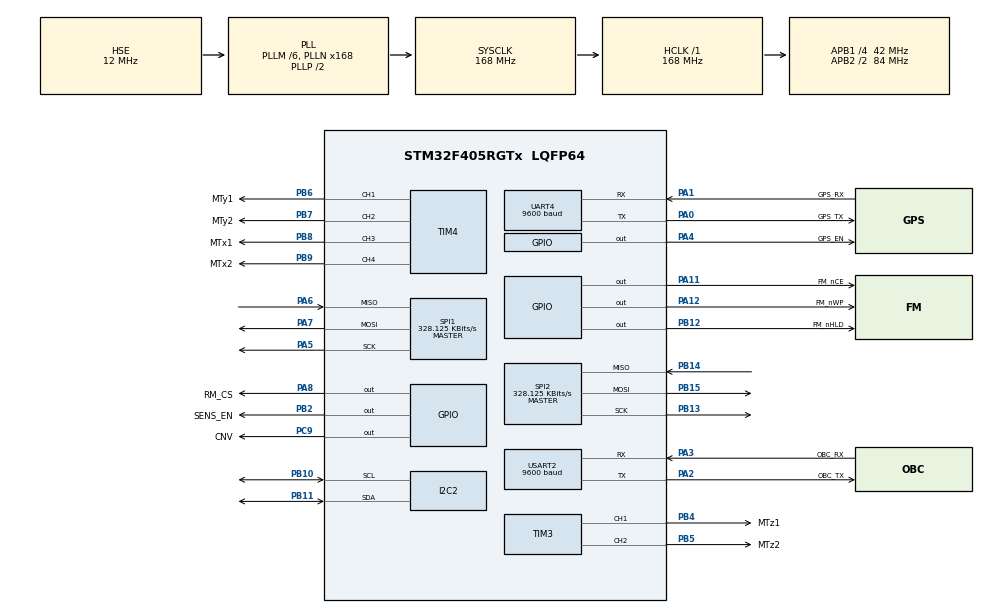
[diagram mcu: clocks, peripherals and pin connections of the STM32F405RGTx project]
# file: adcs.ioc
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Dma.Request0=USART2_TX
Dma.USART2_TX.0.Direction=DMA_MEMORY_TO_PERIPH
Dma.USART2_TX.0.FIFOMode=DMA_FIFOMODE_DISABLE
Dma.USART2_TX.0.Instance=DMA1_Stream6
Dma.USART2_TX.0.MemDataAlignment=DMA_MDATAALIGN_BYTE
Dma.USART2_TX.0.MemInc=DMA_MINC_ENABLE
Dma.USART2_TX.0.Mode=DMA_NORMAL
Dma.USART2_TX.0.PeriphDataAlignment=DMA_PDATAALIGN_BYTE
Dma.USART2_TX.0.PeriphInc=DMA_PINC_DISABLE
Dma.USART2_TX.0.Priority=DMA_PRIORITY_LOW
I2C2.NoStretchMode=I2C_NOSTRETCH_ENABLE
IWDG.Prescaler=IWDG_PRESCALER_256
IWDG.Reload=300
Mcu.Family=STM32F4
Mcu.Name=STM32F405RGTx
Mcu.Package=LQFP64
NVIC.DMA1_Stream6_IRQn=true\:0\:0\:false\:false\:true
NVIC.I2C2_EV_IRQn=true\:0\:0\:false\:false\:true
NVIC.PriorityGroup=NVIC_PRIORITYGROUP_4
NVIC.RTC_Alarm_IRQn=true\:0\:0\:false\:false\:true
NVIC.SPI1_IRQn=true\:0\:0\:false\:false\:true
NVIC.SPI2_IRQn=true\:0\:0\:false\:false\:true
NVIC.TIM7_IRQn=true\:0\:0\:false\:false\:true
NVIC.UART4_IRQn=true\:0\:0\:false\:false\:true
NVIC.USART2_IRQn=true\:0\:0\:false\:false\:true
PA0-WKUP.GPIO_Label=GPS_TX
PA0-WKUP.GPIO_Speed=GPIO_SPEED_FREQ_HIGH
PA0-WKUP.Mode=Asynchronous
PA0-WKUP.Signal=UART4_TX
PA1.GPIO_Label=GPS_RX
PA1.GPIO_Speed=GPIO_SPEED_FREQ_HIGH
PA1.Mode=Asynchronous
PA1.Signal=UART4_RX
PA11.GPIO_Label=FM_nCE
PA11.Signal=GPIO_Output
PA12.GPIO_Label=FM_nWP
PA12.Signal=GPIO_Output
PA13.Mode=Trace_Asynchronous_SW
PA13.Signal=SYS_JTMS-SWDIO
PA14.Mode=Trace_Asynchronous_SW
PA14.Signal=SYS_JTCK-SWCLK
PA2.GPIO_Label=OBC_TX
PA2.GPIO_Speed=GPIO_SPEED_FREQ_HIGH
PA2.Mode=Asynchronous
PA2.Signal=USART2_TX
PA3.GPIO_Label=OBC_RX
PA3.GPIO_Speed=GPIO_SPEED_FREQ_HIGH
PA3.Mode=Asynchronous
PA3.Signal=USART2_RX
PA4.GPIO_Label=GPS_EN
PA4.PinState=GPIO_PIN_SET
PA4.Signal=GPIO_Output
PA5.GPIO_Speed=GPIO_SPEED_FREQ_LOW
PA5.Mode=Full_Duplex_Master
PA5.Signal=SPI1_SCK
PA6.GPIO_Speed=GPIO_SPEED_FREQ_LOW
PA6.Mode=Full_Duplex_Master
PA6.Signal=SPI1_MISO
PA7.GPIO_Speed=GPIO_SPEED_FREQ_LOW
PA7.Mode=Full_Duplex_Master
PA7.Signal=SPI1_MOSI
PA8.GPIO_Label=RM_CS
PA8.Signal=GPIO_Output
PB10.GPIO_PuPdOD=GPIO_NOPULL
PB10.GPIO_Speed=GPIO_SPEED_FREQ_LOW
PB10.Mode=I2C
PB10.Signal=I2C2_SCL
PB11.GPIO_PuPdOD=GPIO_NOPULL
PB11.GPIO_Speed=GPIO_SPEED_FREQ_LOW
PB11.Mode=I2C
PB11.Signal=I2C2_SDA
PB12.GPIO_Label=FM_nHLD
PB12.Signal=GPIO_Output
PB13.GPIO_Speed=GPIO_SPEED_FREQ_LOW
PB13.Mode=Full_Duplex_Master
PB13.Signal=SPI2_SCK
PB14.GPIO_Speed=GPIO_SPEED_FREQ_LOW
PB14.Mode=Full_Duplex_Master
PB14.Signal=SPI2_MISO
PB15.GPIO_Speed=GPIO_SPEED_FREQ_LOW
PB15.Mode=Full_Duplex_Master
PB15.Signal=SPI2_MOSI
PB2.GPIO_Label=SENS_EN
PB2.PinState=GPIO_PIN_SET
PB2.Signal=GPIO_Output
PB3.Mode=Trace_Asynchronous_SW
PB3.Signal=SYS_JTDO-SWO
PB4.GPIO_Label=MTz1
PB4.Signal=S_TIM3_CH1
PB5.GPIO_Label=MTz2
PB5.Signal=S_TIM3_CH2
PB6.GPIO_Label=MTy1
PB6.Signal=S_TIM4_CH1
PB7.GPIO_Label=MTy2
PB7.Signal=S_TIM4_CH2
PB8.GPIO_Label=MTx1
PB8.Signal=S_TIM4_CH3
PB9.GPIO_Label=MTx2
PB9.Signal=S_TIM4_CH4
PC14-OSC32_IN.Mode=LSE-External-Oscillator
PC14-OSC32_IN.Signal=RCC_OSC32_IN
PC15-OSC32_OUT.Mode=LSE-External-Oscillator
PC15-OSC32_OUT.Signal=RCC_OSC32_OUT
PC9.GPIO_Label=CNV
PC9.Signal=GPIO_Output
PH0-OSC_IN.Mode=HSE-External-Oscillator
PH0-OSC_IN.Signal=RCC_OSC_IN
PH1-OSC_OUT.Mode=HSE-External-Oscillator
PH1-OSC_OUT.Signal=RCC_OSC_OUT
ProjectManager.HeapSize=0x200
ProjectManager.StackSize=0x400
ProjectManager.TargetToolchain=SW4STM32
RCC.48MHZClocksFreq_Value=48000000
RCC.AHBFreq_Value=168000000
RCC.APB1CLKDivider=RCC_HCLK_DIV4
RCC.APB1Freq_Value=42000000
RCC.APB1TimFreq_Value=84000000
RCC.APB2CLKDivider=RCC_HCLK_DIV2
RCC.APB2Freq_Value=84000000
RCC.APB2TimFreq_Value=168000000
RCC.CortexFreq_Value=168000000
RCC.HCLKFreq_Value=168000000
RCC.HSE_VALUE=12000000
RCC.HSI_VALUE=16000000
RCC.PLLM=6
RCC.PLLN=168
RCC.PLLQ=7
RCC.PLLSourceVirtual=RCC_PLLSOURCE_HSE
RCC.RCC_RTC_Clock_SourceVirtual=RCC_RTCCLKSOURCE_LSE
RCC.RCC_RTC_Clock_Source_FROM_HSE=RCC_RTCCLKSOURCE_HSE_DIV12
RCC.SYSCLKFreq_VALUE=168000000
RCC.SYSCLKSource=RCC_SYSCLKSOURCE_PLLCLK
RCC.VCOOutputFreq_Value=336000000
RTC.AlarmMask=RTC_ALARMMASK_DATEWEEKDAY
RTC.Format=RTC_FORMAT_BIN
SH.S_TIM3_CH1.0=TIM3_CH1,PWM Generation1 CH1
SH.S_TIM3_CH2.0=TIM3_CH2,PWM Generation2 CH2
SH.S_TIM4_CH1.0=TIM4_CH1,PWM Generation1 CH1
SH.S_TIM4_CH2.0=TIM4_CH2,PWM Generation2 CH2
SH.S_TIM4_CH3.0=TIM4_CH3,PWM Generation3 CH3
SH.S_TIM4_CH4.0=TIM4_CH4,PWM Generation4 CH4
SPI1.BaudRatePrescaler=SPI_BAUDRATEPRESCALER_256
SPI1.CalculateBaudRate=328.125 KBits/s
SPI1.Mode=SPI_MODE_MASTER
SPI2.BaudRatePrescaler=SPI_BAUDRATEPRESCALER_128
SPI2.CalculateBaudRate=328.125 KBits/s
SPI2.Mode=SPI_MODE_MASTER
TIM3.Channel-PWM\ Generation2\ CH2=TIM_CHANNEL_2
TIM4.Channel-PWM\ Generation2\ CH2=TIM_CHANNEL_2
TIM4.Channel-PWM\ Generation3\ CH3=TIM_CHANNEL_3
TIM4.Channel-PWM\ Generation4\ CH4=TIM_CHANNEL_4
TIM7.Period=50000
TIM7.Prescaler=2048
UART4.BaudRate=9600
USART2.BaudRate=9600
VP_CRC_VS_CRC.Mode=CRC_Activate
VP_IWDG_VS_IWDG.Mode=IWDG_Activate
VP_RTC_VS_RTC_Alarm_A_Intern.Mode=Alarm A
VP_TIM7_VS_ClockSourceINT.Mode=Enable_Timer
board=adcs

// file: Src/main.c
/**
 ******************************************************************************
 * File Name          : main.c
 * Description        : Main program body
 ******************************************************************************
 *
 * COPYRIGHT(c) 2016 STMicroelectronics
 *
 * Redistribution and use in source and binary forms, with or without modification,
 * are permitted provided that the following conditions are met:
 *   1. Redistributions of source code must retain the above copyright notice,
 *      this list of conditions and the following disclaimer.
 *   2. Redistributions in binary form must reproduce the above copyright notice,
 *      this list of conditions and the following disclaimer in the documentation
 *      and/or other materials provided with the distribution.
 *   3. Neither the name of STMicroelectronics nor the names of its contributors
 *      may be used to endorse or promote products derived from this software
 *      without specific prior written permission.
 *
 * THIS SOFTWARE IS PROVIDED BY THE COPYRIGHT HOLDERS AND CONTRIBUTORS "AS IS"
 * AND ANY EXPRESS OR IMPLIED WARRANTIES, INCLUDING, BUT NOT LIMITED TO, THE
 * IMPLIED WARRANTIES OF MERCHANTABILITY AND FITNESS FOR A PARTICULAR PURPOSE ARE
 * DISCLAIMED. IN NO EVENT SHALL THE COPYRIGHT HOLDER OR CONTRIBUTORS BE LIABLE
 * FOR ANY DIRECT, INDIRECT, INCIDENTAL, SPECIAL, EXEMPLARY, OR CONSEQUENTIAL
 * DAMAGES (INCLUDING, BUT NOT LIMITED TO, PROCUREMENT OF SUBSTITUTE GOODS OR
 * SERVICES; LOSS OF USE, DATA, OR PROFITS; OR BUSINESS INTERRUPTION) HOWEVER
 * CAUSED AND ON ANY THEORY OF LIABILITY, WHETHER IN CONTRACT, STRICT LIABILITY,
 * OR TORT (INCLUDING NEGLIGENCE OR OTHERWISE) ARISING IN ANY WAY OUT OF THE USE
 * OF THIS SOFTWARE, EVEN IF ADVISED OF THE POSSIBILITY OF SUCH DAMAGE.
 *
 ******************************************************************************
 */
#include "stm32f4xx_hal.h"

/* USER CODE BEGIN Includes */

#include "adcs_manager.h"

#include "sysview.h"

/* USER CODE END Includes */

CRC_HandleTypeDef hcrc;

I2C_HandleTypeDef hi2c2;

IWDG_HandleTypeDef hiwdg;

RTC_HandleTypeDef hrtc;

SPI_HandleTypeDef hspi1;
SPI_HandleTypeDef hspi2;

TIM_HandleTypeDef htim3;
TIM_HandleTypeDef htim4;
TIM_HandleTypeDef htim7;

UART_HandleTypeDef huart4;
UART_HandleTypeDef huart2;
DMA_HandleTypeDef hdma_usart2_tx;

/* USER CODE BEGIN PV */
/* Private variables ---------------------------------------------------------*/

/* USER CODE END PV */

void SystemClock_Config(void);
void Error_Handler(void);
static void MX_GPIO_Init(void);
static void MX_DMA_Init(void);
static void MX_I2C2_Init(void);
static void MX_SPI1_Init(void);
static void MX_SPI2_Init(void);
static void MX_TIM3_Init(void);
static void MX_TIM4_Init(void);
static void MX_UART4_Init(void);
static void MX_USART2_UART_Init(void);
static void MX_TIM7_Init(void);
static void MX_CRC_Init(void);
static void MX_IWDG_Init(void);
static void MX_RTC_Init(void);

void HAL_TIM_MspPostInit(TIM_HandleTypeDef *htim);

/* USER CODE BEGIN PFP */
/* Private function prototypes -----------------------------------------------*/

void adcs_sysview_print();

/* USER CODE END PFP */

int main(void) {

    /* USER CODE BEGIN 1 */

    uint32_t obc_request_time = 0;

    /* Reset error status */
    error_status = ERROR_OK;

    /* USER CODE END 1 */

    /* MCU Configuration----------------------------------------------------------*/

    /* Reset of all peripherals, Initializes the Flash interface and the Systick. */
    HAL_Init();

    /* Wait for EPS ready */
    HAL_Delay(EPS_DELAY_READY);

    /* Configure the system clock */
    SystemClock_Config();

    /* Initialize all configured peripherals */
    MX_GPIO_Init();
    MX_DMA_Init();
    MX_I2C2_Init();
    MX_SPI1_Init();
    MX_SPI2_Init();
    MX_TIM3_Init();
    MX_TIM4_Init();
    MX_UART4_Init();
    MX_USART2_UART_Init();
    MX_TIM7_Init();
    MX_CRC_Init();
    MX_IWDG_Init();
    MX_RTC_Init();

    /* USER CODE BEGIN 2 */

    SEGGER_SYSVIEW_Conf();
    sysview_init();

    HAL_IWDG_Refresh(&hiwdg);

    error_status = init_mem();
    error_status = increment_boot_counter();
    error_status = init_obc_communication(adcs_boot_cnt);

    get_time_UTC(&adcs_time.utc);
    error_status = init_gps(adcs_time.utc, &gps_state);
    error_status = init_tle();

    HAL_IWDG_Refresh(&hiwdg);

    error_status = init_actuators();
    error_status = init_measured_vectors();
    error_status = init_attitude_determination();

    /* Kick timer interrupt for timed threads */
    if (kick_TIM7_timed_interrupt(LOOP_TIME_TICKS) == HAL_ERROR) {
        ADCS_event_period_status = TIMED_EVENT_NOT_SERVICED;
    }
    HAL_IWDG_Refresh(&hiwdg);
    /* USER CODE END 2 */

    /* Infinite loop */
    /* USER CODE BEGIN WHILE */
    while (1) {
        /* GPS update */
        error_status = update_gps(&gps_state);

        /* Control loop runs at 68ms, interrupt runs every ~1.2s, WDG at ~2.4s */
        if (ADCS_event_period_status == TIMED_EVENT_NOT_SERVICED) {
            /* Send to EPS a packet */
            update_eps_pkt();
            /* Close Magneto-torquer for ms */
            magneto_torquer_off();
            /* Update measured vectors */
            error_status = update_measured_vectors();
            /* Open Magneto-torquer with previous current values */
            magneto_torquer_on();
            /* Get time for RTC*/
            get_time_UTC(&adcs_time.utc);
            /* Check if time is correct */
            if (adcs_time.utc.year > 15) {
                /* When set time with OBC RTC update GPS_ALARM only in the first time*/
                if (adcs_time.set_time == false) {
                    update_gps_alarm_from_flash(adcs_time.utc, &gps_state);
                    obc_request_time = 0;
                    adcs_time.set_time = true;
                }
                /* Calculate decimal year and Julian day */
                error_status = time_converter();
                /* Check if the SGP4 is correct */
                if (update_sgp4() == ERROR_OK) {
                    /* Update reference vectors */
                    error_status = update_reference_vectors();
                    /* Calculate Euler angles and angular velocities */
                    error_status = update_attitude_determination();
                } else {
                    error_status = ERROR_SGP4;
                }
            } else {
                /* Time isn't set by OBC, request time every ~11sec */
                error_status = ERROR_TIME;
                adcs_time.set_time = false;
                uint32_t obc_request_get_tick = HAL_sys_GetTick();
                if (obc_request_get_tick - obc_request_time> OBC_REQUEST_TIME_UPDATE) {
                    time_management_request_time_in_utc(OBC_APP_ID);
                    obc_request_time = obc_request_get_tick;
                }
            }
            /* Calculate control signals */
            error_status = attitude_control();
            /* Set actuators according to control signals */
            error_status = update_actuators();
            /* Update flag */
            ADCS_event_period_status = TIMED_EVENT_SERVICED;
            /* Software error handler runs for actuator and sensor 230ms*/
            adcs_sysview_print();
            error_handler(error_status);
            error_status = ERROR_OK;
        }

        error_status = update_obc_communication();

        /* USER CODE END WHILE */

    }

}

/** System Clock Configuration
 */
void SystemClock_Config(void) {

    RCC_OscInitTypeDef RCC_OscInitStruct;
    RCC_ClkInitTypeDef RCC_ClkInitStruct;
    RCC_PeriphCLKInitTypeDef PeriphClkInitStruct;

    __HAL_RCC_PWR_CLK_ENABLE();

    __HAL_PWR_VOLTAGESCALING_CONFIG(PWR_REGULATOR_VOLTAGE_SCALE1);

    RCC_OscInitStruct.OscillatorType = RCC_OSCILLATORTYPE_LSI
            | RCC_OSCILLATORTYPE_HSE | RCC_OSCILLATORTYPE_LSE;
    RCC_OscInitStruct.HSEState = RCC_HSE_ON;
    RCC_OscInitStruct.LSEState = RCC_LSE_ON;
    RCC_OscInitStruct.LSIState = RCC_LSI_ON;
    RCC_OscInitStruct.PLL.PLLState = RCC_PLL_ON;
    RCC_OscInitStruct.PLL.PLLSource = RCC_PLLSOURCE_HSE;
    RCC_OscInitStruct.PLL.PLLM = 6;
    RCC_OscInitStruct.PLL.PLLN = 168;
    RCC_OscInitStruct.PLL.PLLP = RCC_PLLP_DIV2;
    RCC_OscInitStruct.PLL.PLLQ = 7;
    if (HAL_RCC_OscConfig(&RCC_OscInitStruct) != HAL_OK) {
        Error_Handler();
    }

    RCC_ClkInitStruct.ClockType = RCC_CLOCKTYPE_HCLK | RCC_CLOCKTYPE_SYSCLK
            | RCC_CLOCKTYPE_PCLK1 | RCC_CLOCKTYPE_PCLK2;
    RCC_ClkInitStruct.SYSCLKSource = RCC_SYSCLKSOURCE_PLLCLK;
    RCC_ClkInitStruct.AHBCLKDivider = RCC_SYSCLK_DIV1;
    RCC_ClkInitStruct.APB1CLKDivider = RCC_HCLK_DIV4;
    RCC_ClkInitStruct.APB2CLKDivider = RCC_HCLK_DIV2;
    if (HAL_RCC_ClockConfig(&RCC_ClkInitStruct, FLASH_LATENCY_5) != HAL_OK) {
        Error_Handler();
    }

    PeriphClkInitStruct.PeriphClockSelection = RCC_PERIPHCLK_RTC;
    PeriphClkInitStruct.RTCClockSelection = RCC_RTCCLKSOURCE_LSE;
    if (HAL_RCCEx_PeriphCLKConfig(&PeriphClkInitStruct) != HAL_OK) {
        Error_Handler();
    }

    HAL_SYSTICK_Config(HAL_RCC_GetHCLKFreq() / 1000);

    HAL_SYSTICK_CLKSourceConfig(SYSTICK_CLKSOURCE_HCLK);

    /* SysTick_IRQn interrupt configuration */
    HAL_NVIC_SetPriority(SysTick_IRQn, 0, 0);
}

/* CRC init function */
static void MX_CRC_Init(void) {

    hcrc.Instance = CRC;
    if (HAL_CRC_Init(&hcrc) != HAL_OK) {
        Error_Handler();
    }

}

/* I2C2 init function */
static void MX_I2C2_Init(void) {

    hi2c2.Instance = I2C2;
    hi2c2.Init.ClockSpeed = 100000;
    hi2c2.Init.DutyCycle = I2C_DUTYCYCLE_2;
    hi2c2.Init.OwnAddress1 = 0;
    hi2c2.Init.AddressingMode = I2C_ADDRESSINGMODE_7BIT;
    hi2c2.Init.DualAddressMode = I2C_DUALADDRESS_DISABLE;
    hi2c2.Init.OwnAddress2 = 0;
    hi2c2.Init.GeneralCallMode = I2C_GENERALCALL_DISABLE;
    hi2c2.Init.NoStretchMode = I2C_NOSTRETCH_ENABLE;
    if (HAL_I2C_Init(&hi2c2) != HAL_OK) {
        Error_Handler();
    }

}

/* IWDG init function */
static void MX_IWDG_Init(void) {

    hiwdg.Instance = IWDG;
    hiwdg.Init.Prescaler = IWDG_PRESCALER_256;
    hiwdg.Init.Reload = 300;
    if (HAL_IWDG_Init(&hiwdg) != HAL_OK) {
        Error_Handler();
    }

}

/* RTC init function */
static void MX_RTC_Init(void) {

    RTC_TimeTypeDef sTime;
    RTC_DateTypeDef sDate;
    RTC_AlarmTypeDef sAlarm;

    /**Initialize RTC and set the Time and Date
     */
    hrtc.Instance = RTC;
    hrtc.Init.HourFormat = RTC_HOURFORMAT_24;
    hrtc.Init.AsynchPrediv = 127;
    hrtc.Init.SynchPrediv = 255;
    hrtc.Init.OutPut = RTC_OUTPUT_DISABLE;
    hrtc.Init.OutPutPolarity = RTC_OUTPUT_POLARITY_HIGH;
    hrtc.Init.OutPutType = RTC_OUTPUT_TYPE_OPENDRAIN;
    if (HAL_RTC_Init(&hrtc) != HAL_OK) {
        Error_Handler();
    }

    sTime.Hours = 0;
    sTime.Minutes = 0;
    sTime.Seconds = 0;
    sTime.DayLightSaving = RTC_DAYLIGHTSAVING_NONE;
    sTime.StoreOperation = RTC_STOREOPERATION_RESET;
    if (HAL_RTC_SetTime(&hrtc, &sTime, RTC_FORMAT_BIN) != HAL_OK) {
        Error_Handler();
    }

    sDate.WeekDay = RTC_WEEKDAY_MONDAY;
    sDate.Month = RTC_MONTH_JANUARY;
    sDate.Date = 1;
    sDate.Year = 0;

    if (HAL_RTC_SetDate(&hrtc, &sDate, RTC_FORMAT_BIN) != HAL_OK) {
        Error_Handler();
    }

    /**Enable the Alarm A
     */
    sAlarm.AlarmTime.Hours = 0;
    sAlarm.AlarmTime.Minutes = 0;
    sAlarm.AlarmTime.Seconds = 0;
    sAlarm.AlarmTime.SubSeconds = 0;
    sAlarm.AlarmTime.DayLightSaving = RTC_DAYLIGHTSAVING_NONE;
    sAlarm.AlarmTime.StoreOperation = RTC_STOREOPERATION_RESET;
    sAlarm.AlarmMask = RTC_ALARMMASK_DATEWEEKDAY;
    sAlarm.AlarmSubSecondMask = RTC_ALARMSUBSECONDMASK_ALL;
    sAlarm.AlarmDateWeekDaySel = RTC_ALARMDATEWEEKDAYSEL_DATE;
    sAlarm.AlarmDateWeekDay = 1;
    sAlarm.Alarm = RTC_ALARM_A;
    if (HAL_RTC_SetAlarm_IT(&hrtc, &sAlarm, RTC_FORMAT_BIN) != HAL_OK) {
        Error_Handler();
    }

}

/* SPI1 init function */
static void MX_SPI1_Init(void) {

    hspi1.Instance = SPI1;
    hspi1.Init.Mode = SPI_MODE_MASTER;
    hspi1.Init.Direction = SPI_DIRECTION_2LINES;
    hspi1.Init.DataSize = SPI_DATASIZE_8BIT;
    hspi1.Init.CLKPolarity = SPI_POLARITY_LOW;
    hspi1.Init.CLKPhase = SPI_PHASE_1EDGE;
    hspi1.Init.NSS = SPI_NSS_SOFT;
    hspi1.Init.BaudRatePrescaler = SPI_BAUDRATEPRESCALER_256;
    hspi1.Init.FirstBit = SPI_FIRSTBIT_MSB;
    hspi1.Init.TIMode = SPI_TIMODE_DISABLE;
    hspi1.Init.CRCCalculation = SPI_CRCCALCULATION_DISABLE;
    hspi1.Init.CRCPolynomial = 10;
    if (HAL_SPI_Init(&hspi1) != HAL_OK) {
        Error_Handler();
    }

}

/* SPI2 init function */
static void MX_SPI2_Init(void) {

    hspi2.Instance = SPI2;
    hspi2.Init.Mode = SPI_MODE_MASTER;
    hspi2.Init.Direction = SPI_DIRECTION_2LINES;
    hspi2.Init.DataSize = SPI_DATASIZE_8BIT;
    hspi2.Init.CLKPolarity = SPI_POLARITY_LOW;
    hspi2.Init.CLKPhase = SPI_PHASE_1EDGE;
    hspi2.Init.NSS = SPI_NSS_SOFT;
    hspi2.Init.BaudRatePrescaler = SPI_BAUDRATEPRESCALER_128;
    hspi2.Init.FirstBit = SPI_FIRSTBIT_MSB;
    hspi2.Init.TIMode = SPI_TIMODE_DISABLE;
    hspi2.Init.CRCCalculation = SPI_CRCCALCULATION_DISABLE;
    hspi2.Init.CRCPolynomial = 10;
    if (HAL_SPI_Init(&hspi2) != HAL_OK) {
        Error_Handler();
    }

}

/* TIM3 init function */
static void MX_TIM3_Init(void) {

    TIM_MasterConfigTypeDef sMasterConfig;
    TIM_OC_InitTypeDef sConfigOC;

    htim3.Instance = TIM3;
    htim3.Init.Prescaler = 0;
    htim3.Init.CounterMode = TIM_COUNTERMODE_UP;
    htim3.Init.Period = 0;
    htim3.Init.ClockDivision = TIM_CLOCKDIVISION_DIV1;
    if (HAL_TIM_PWM_Init(&htim3) != HAL_OK) {
        Error_Handler();
    }

    sMasterConfig.MasterOutputTrigger = TIM_TRGO_RESET;
    sMasterConfig.MasterSlaveMode = TIM_MASTERSLAVEMODE_DISABLE;
    if (HAL_TIMEx_MasterConfigSynchronization(&htim3, &sMasterConfig)
            != HAL_OK) {
        Error_Handler();
    }

    sConfigOC.OCMode = TIM_OCMODE_PWM1;
    sConfigOC.Pulse = 0;
    sConfigOC.OCPolarity = TIM_OCPOLARITY_HIGH;
    sConfigOC.OCFastMode = TIM_OCFAST_DISABLE;
    if (HAL_TIM_PWM_ConfigChannel(&htim3, &sConfigOC, TIM_CHANNEL_1)
            != HAL_OK) {
        Error_Handler();
    }

    if (HAL_TIM_PWM_ConfigChannel(&htim3, &sConfigOC, TIM_CHANNEL_2)
            != HAL_OK) {
        Error_Handler();
    }

    HAL_TIM_MspPostInit(&htim3);

}

/* TIM4 init function */
static void MX_TIM4_Init(void) {

    TIM_MasterConfigTypeDef sMasterConfig;
    TIM_OC_InitTypeDef sConfigOC;

    htim4.Instance = TIM4;
    htim4.Init.Prescaler = 0;
    htim4.Init.CounterMode = TIM_COUNTERMODE_UP;
    htim4.Init.Period = 0;
    htim4.Init.ClockDivision = TIM_CLOCKDIVISION_DIV1;
    if (HAL_TIM_PWM_Init(&htim4) != HAL_OK) {
        Error_Handler();
    }

    sMasterConfig.MasterOutputTrigger = TIM_TRGO_RESET;
    sMasterConfig.MasterSlaveMode = TIM_MASTERSLAVEMODE_DISABLE;
    if (HAL_TIMEx_MasterConfigSynchronization(&htim4, &sMasterConfig)
            != HAL_OK) {
        Error_Handler();
    }

    sConfigOC.OCMode = TIM_OCMODE_PWM1;
    sConfigOC.Pulse = 0;
    sConfigOC.OCPolarity = TIM_OCPOLARITY_HIGH;
    sConfigOC.OCFastMode = TIM_OCFAST_DISABLE;
    if (HAL_TIM_PWM_ConfigChannel(&htim4, &sConfigOC, TIM_CHANNEL_1)
            != HAL_OK) {
        Error_Handler();
    }

    if (HAL_TIM_PWM_ConfigChannel(&htim4, &sConfigOC, TIM_CHANNEL_2)
            != HAL_OK) {
        Error_Handler();
    }

    if (HAL_TIM_PWM_ConfigChannel(&htim4, &sConfigOC, TIM_CHANNEL_3)
            != HAL_OK) {
        Error_Handler();
    }

    if (HAL_TIM_PWM_ConfigChannel(&htim4, &sConfigOC, TIM_CHANNEL_4)
            != HAL_OK) {
        Error_Handler();
    }

    HAL_TIM_MspPostInit(&htim4);

}

/* TIM7 init function */
static void MX_TIM7_Init(void) {

    TIM_MasterConfigTypeDef sMasterConfig;

    htim7.Instance = TIM7;
    htim7.Init.Prescaler = 2048;
    htim7.Init.CounterMode = TIM_COUNTERMODE_UP;
    htim7.Init.Period = 50000;
    if (HAL_TIM_Base_Init(&htim7) != HAL_OK) {
        Error_Handler();
    }

    sMasterConfig.MasterOutputTrigger = TIM_TRGO_RESET;
    sMasterConfig.MasterSlaveMode = TIM_MASTERSLAVEMODE_DISABLE;
    if (HAL_TIMEx_MasterConfigSynchronization(&htim7, &sMasterConfig)
            != HAL_OK) {
        Error_Handler();
    }

}

/* UART4 init function */
static void MX_UART4_Init(void) {

    huart4.Instance = UART4;
    huart4.Init.BaudRate = 9600;
    huart4.Init.WordLength = UART_WORDLENGTH_8B;
    huart4.Init.StopBits = UART_STOPBITS_1;
    huart4.Init.Parity = UART_PARITY_NONE;
    huart4.Init.Mode = UART_MODE_TX_RX;
    huart4.Init.HwFlowCtl = UART_HWCONTROL_NONE;
    huart4.Init.OverSampling = UART_OVERSAMPLING_16;
    if (HAL_UART_Init(&huart4) != HAL_OK) {
        Error_Handler();
    }

}

/* USART2 init function */
static void MX_USART2_UART_Init(void) {

    huart2.Instance = USART2;
    huart2.Init.BaudRate = 9600;
    huart2.Init.WordLength = UART_WORDLENGTH_8B;
    huart2.Init.StopBits = UART_STOPBITS_1;
    huart2.Init.Parity = UART_PARITY_NONE;
    huart2.Init.Mode = UART_MODE_TX_RX;
    huart2.Init.HwFlowCtl = UART_HWCONTROL_NONE;
    huart2.Init.OverSampling = UART_OVERSAMPLING_16;
    if (HAL_UART_Init(&huart2) != HAL_OK) {
        Error_Handler();
    }

}

static void MX_DMA_Init(void) {
    /* DMA controller clock enable */
    __HAL_RCC_DMA1_CLK_ENABLE();

    /* DMA interrupt init */
    /* DMA1_Stream6_IRQn interrupt configuration */
    HAL_NVIC_SetPriority(DMA1_Stream6_IRQn, 0, 0);
    HAL_NVIC_EnableIRQ(DMA1_Stream6_IRQn);

}

/** Configure pins as
 * Analog
 * Input
 * Output
 * EVENT_OUT
 * EXTI
 */
static void MX_GPIO_Init(void) {

    GPIO_InitTypeDef GPIO_InitStruct;

    /* GPIO Ports Clock Enable */
    __HAL_RCC_GPIOC_CLK_ENABLE();
    __HAL_RCC_GPIOH_CLK_ENABLE();
    __HAL_RCC_GPIOA_CLK_ENABLE();
    __HAL_RCC_GPIOB_CLK_ENABLE();

    /*Configure GPIO pin Output Level */
    HAL_GPIO_WritePin(GPS_EN_GPIO_Port, GPS_EN_Pin, GPIO_PIN_SET);

    /*Configure GPIO pin Output Level */
    HAL_GPIO_WritePin(SENS_EN_GPIO_Port, SENS_EN_Pin, GPIO_PIN_SET);

    /*Configure GPIO pin Output Level */
    HAL_GPIO_WritePin(FM_nHLD_GPIO_Port, FM_nHLD_Pin, GPIO_PIN_RESET);

    /*Configure GPIO pin Output Level */
    HAL_GPIO_WritePin(CNV_GPIO_Port, CNV_Pin, GPIO_PIN_RESET);

    /*Configure GPIO pin Output Level */
    HAL_GPIO_WritePin(GPIOA, RM_CS_Pin | FM_nCE_Pin | FM_nWP_Pin,
            GPIO_PIN_RESET);

    /*Configure GPIO pins : GPS_EN_Pin RM_CS_Pin FM_nCE_Pin FM_nWP_Pin */
    GPIO_InitStruct.Pin = GPS_EN_Pin | RM_CS_Pin | FM_nCE_Pin | FM_nWP_Pin;
    GPIO_InitStruct.Mode = GPIO_MODE_OUTPUT_PP;
    GPIO_InitStruct.Pull = GPIO_NOPULL;
    GPIO_InitStruct.Speed = GPIO_SPEED_FREQ_LOW;
    HAL_GPIO_Init(GPIOA, &GPIO_InitStruct);

    /*Configure GPIO pins : SENS_EN_Pin FM_nHLD_Pin */
    GPIO_InitStruct.Pin = SENS_EN_Pin | FM_nHLD_Pin;
    GPIO_InitStruct.Mode = GPIO_MODE_OUTPUT_PP;
    GPIO_InitStruct.Pull = GPIO_NOPULL;
    GPIO_InitStruct.Speed = GPIO_SPEED_FREQ_LOW;
    HAL_GPIO_Init(GPIOB, &GPIO_InitStruct);

    /*Configure GPIO pin : CNV_Pin */
    GPIO_InitStruct.Pin = CNV_Pin;
    GPIO_InitStruct.Mode = GPIO_MODE_OUTPUT_PP;
    GPIO_InitStruct.Pull = GPIO_NOPULL;
    GPIO_InitStruct.Speed = GPIO_SPEED_FREQ_LOW;
    HAL_GPIO_Init(CNV_GPIO_Port, &GPIO_InitStruct);

}

/* USER CODE BEGIN 4 */

void adcs_sysview_print() {
    SYSVIEW_PRINT("BOOT COUNTER %ld", adcs_boot_cnt);
    SYSVIEW_PRINT("ERROR STATUS %d", error_status);
    SYSVIEW_PRINT("GPS STATUS %d", gps_state.status);
    SYSVIEW_PRINT("EULER %.2f %.2f %.2f", DEG(WahbaRot.Euler[0]),
            DEG(WahbaRot.Euler[1]), DEG(WahbaRot.Euler[2]));
    SYSVIEW_PRINT("W %.2f %.2f %.2f", DEG(WahbaRot.W[0]), DEG(WahbaRot.W[1]),
            DEG(WahbaRot.W[2]));
    SYSVIEW_PRINT("TEMPERATURE %.2f", adcs_sensors.temp.temp_c);
    SYSVIEW_PRINT("IGRF %.2f %.2f %.2f %.2f", igrf_vector.Xm,
            igrf_vector.Ym, igrf_vector.Zm, igrf_vector.norm);
    SYSVIEW_PRINT("RM %.2f %.2f %.2f %.2f", adcs_sensors.mgn.rm_f[0],
            adcs_sensors.mgn.rm_f[1], adcs_sensors.mgn.rm_f[2], adcs_sensors.mgn.rm_norm);
    SYSVIEW_PRINT("XM %.2f %.2f %.2f %.2f", adcs_sensors.imu.xm_f[0],
            adcs_sensors.imu.xm_f[1], adcs_sensors.imu.xm_f[2], adcs_sensors.imu.xm_norm);
    SYSVIEW_PRINT("GYRO %.2f %.2f %.2f", DEG(adcs_sensors.imu.gyr_f[0]),
            DEG(adcs_sensors.imu.gyr_f[1]), DEG(adcs_sensors.imu.gyr_f[2]));
    SYSVIEW_PRINT("GYRO %d %d %d", adcs_sensors.imu.gyr_raw[0],
            adcs_sensors.imu.gyr_raw[1], adcs_sensors.imu.gyr_raw[2]);
    SYSVIEW_PRINT("V %.2f %.2f %.2f %.2f %.2f", adcs_sensors.sun.v_sun[0],
            adcs_sensors.sun.v_sun[1], adcs_sensors.sun.v_sun[2],
            adcs_sensors.sun.v_sun[3], adcs_sensors.sun.v_sun[4]);
    SYSVIEW_PRINT("SPIN RPM %ld", adcs_actuator.spin_torquer.m_RPM);
    SYSVIEW_PRINT("SPIN STATUS %d", adcs_actuator.spin_torquer.status);
    SYSVIEW_PRINT("ECI %.2f %.2f %.2f", p_eci.x, p_eci.y, p_eci.z);
    SYSVIEW_PRINT("CURRENTS %d %d", adcs_actuator.magneto_torquer.current_y,
            adcs_actuator.magneto_torquer.current_z);
    SYSVIEW_PRINT("SPIN RPM %ld", adcs_actuator.spin_torquer.RPM);
    SYSVIEW_PRINT("SP SPIN %.2f", control.sp_rpm);
}

/* USER CODE END 4 */

void Error_Handler(void) {
    /* USER CODE BEGIN Error_Handler */
    error_status = ERROR_HAL_INIT;
    /* User can add his own implementation to report the HAL error return state */
    while (1) {
        return;
    }
    /* USER CODE END Error_Handler */
}

/************************ (C) COPYRIGHT STMicroelectronics *****END OF FILE****/
